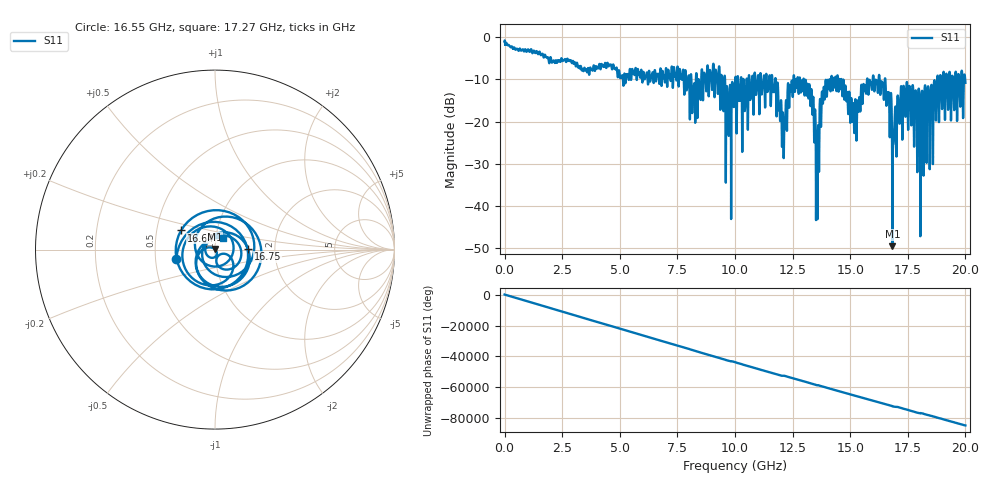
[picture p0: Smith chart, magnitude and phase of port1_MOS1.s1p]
! MS46122B
! 2250307/22442219
! 6/11/2025 1:19:29 PM
! C:\USERS\SPARKY\DOCUMENTS\VNA_DATA\JUNE11_2025\PORT1.S1P
! CHANNEL.1
! TR.MEASUREMENT
! RAW.DATA
# GHZ S RI R 50.0
! FREQ.GHZ  S11RE  S11IM
!; PortSelection: Port_1
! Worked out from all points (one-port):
!   10001 points, 1 MHz to 20 GHz, reference 50 ohm
!   lowest |S11| = -49.5 dB at 16.83 GHz (marker M1), VSWR 1.01, Z = 49.9 + j0.301 ohm
!   |S11| at or under -10 dB: 12.99 GHz to 14.1 GHz (1.118 GHz wide, 8.25 % of centre); 14.62 GHz to 15.73 GHz (1.11 GHz wide, 7.31 % of centre); 16.52 GHz to 18.77 GHz (2.249 GHz wide, 12.7 % of centre) (the widest 3 of 75)
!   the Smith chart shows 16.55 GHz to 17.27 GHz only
!   S11 on the Smith chart (normalised r, x): 16.55 GHz: 0.64, -0.07; 16.64 GHz: 0.67, +0.15; 16.75 GHz: 1.45, +0.01; 17.27 GHz: 1.08, +0.14
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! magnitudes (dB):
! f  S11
! 1 MHz  -1.0
! 2.501 GHz  -5.4
! 5.001 GHz  -9.2
! 7.501 GHz  -6.9
! 8.205 GHz  -12.0
! 9.239 GHz  -10.9
! 9.759 GHz  -14.4
! 10 GHz  -11.0
! 11.68 GHz  -12.0
! 12.11 GHz  -26.5
! 12.5 GHz  -13.7
! 13.23 GHz  -11.2
! 13.57 GHz  -28.8
! 13.77 GHz  -13.2
! 14.02 GHz  -10.4
! 14.62 GHz  -10.1
! 15 GHz  -19.7
! 15.26 GHz  -21.1
! 15.92 GHz  -11.3
! 16.55 GHz  -13.1
! 16.64 GHz  -13.3
! 16.75 GHz  -14.7
! 16.83 GHz  -49.5
! 17.27 GHz  -22.3
! 17.5 GHz  -16.9
! 18.11 GHz  -12.8
! 18.85 GHz  -20.1
! 20 GHz  -10.8
